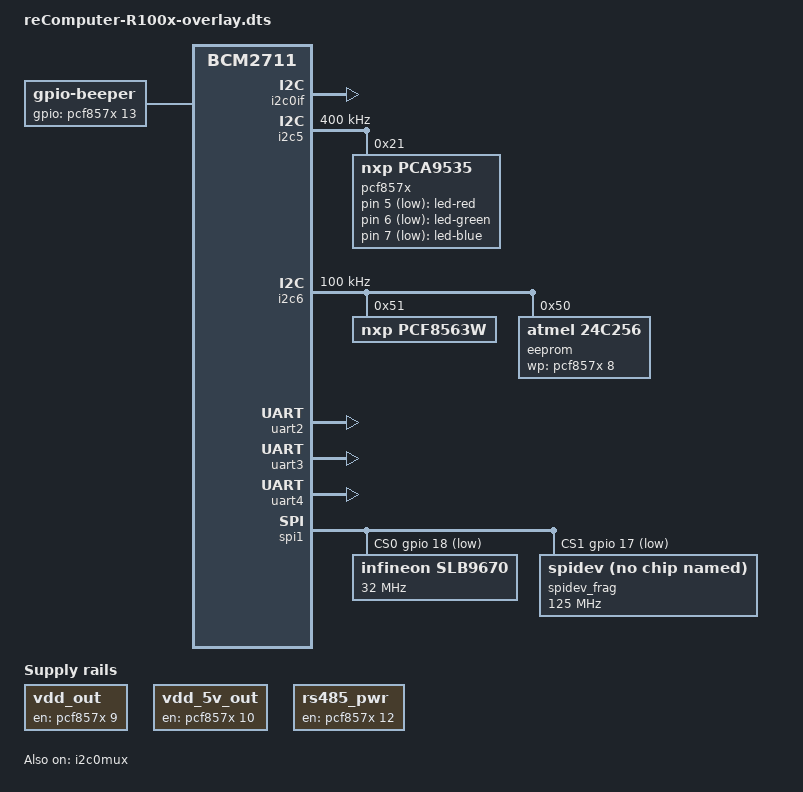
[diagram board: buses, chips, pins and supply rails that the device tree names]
/*
 * Copyright (C) 2021 Seeed Studio
 * ruiqian <ruiqian.tang@seeed.cc>
 *
 * MIT License
 *
 */
 /dts-v1/;
 /plugin/;

 #include "dt-bindings/gpio/gpio.h"

 / {
	compatible = "brcm,bcm2835", "brcm,bcm2708", "brcm,bcm2709", "brcm,bcm2711";

	fragment@0 {
        target-path="/";
        __overlay__ {
            hardware = "reComputer-R100x V1.0&V1.1";
        };
    };

	fragment@1 {
		target = <&i2c0if>;
		__overlay__ {
			status = "okay";
		};
	};

	fragment@2 {
		target = <&i2c0mux>;
		__overlay__ {
			status = "okay";
		};
	};

	i2c_frag:fragment@3 {
		target = <&i2c5>;
		__overlay__ {
			status = "okay";
			clock-frequency = <400000>;
			#address-cells = <1>;
			#size-cells = <0>;

			pcf857x: pcf@21 {
				compatible = "nxp,pca9535";
				reg = <0x21>;
				status = "okay";

				gpio-controller;
				#gpio-cells = <2>;

				gpio-line-names =
					"LoRaWAN_SX1262_CS"	 	,"LoRaWAN_SX1262_RST",
					"LoRaWAN_SX1302_RST"	,"LTE_RESET",
					"TPM_RST"				,"USR_LED_R",
					"USR_LED_G"				,"USR_LED_B",
					"EEPROM_WP"				,"VDD_OUT_CTL",
					"VDD_5V_OUT_CTL"		,"USB2_RST_EN",
					"RS485_POWER_EN"		,"Buzzer_EN",
					"gpio_pin14"			,"gpio_pin15";
					
				LoRaWAN_SX1262_CS {
					gpios = <&pcf857x 0 GPIO_ACTIVE_HIGH>;
					output-low;
					line-name = "LoRaWAN_SX1262_CS";
				};

				LoRaWAN_SX1262_RST {
					gpios = <&pcf857x 1 GPIO_ACTIVE_HIGH>;
					output-low;
					line-name = "LoRaWAN_SX1262_RST";
				};

				LoRaWAN_SX1302_RST {
					gpios = <&pcf857x 2 GPIO_ACTIVE_HIGH>;
					output-low;
					line-name = "LoRaWAN_SX1302_RST";
				};

				LTE_RESET {
					gpios = <&pcf857x 3 GPIO_ACTIVE_HIGH>;
					output-high;
					line-name = "LTE_RESET";
				};

				TPM_RST {
					gpios = <&pcf857x 4 GPIO_ACTIVE_HIGH>;
					output-high;
					line-name = "TPM_RST";
				};

				USR_LED_R {
					gpios = <&pcf857x 5 GPIO_ACTIVE_HIGH>;
					output-high;
					line-name = "USR_LED_R";
				};

				USR_LED_G {
					gpios = <&pcf857x 6 GPIO_ACTIVE_HIGH>;
					output-high;
					line-name = "USR_LED_G";
				};

				USR_LED_B {
					gpios = <&pcf857x 7 GPIO_ACTIVE_HIGH>;
					output-high;
					line-name = "USR_LED_B";
				};

				EEPROM_WP {
					gpios = <&pcf857x 8 GPIO_ACTIVE_HIGH>;
					output-high;
					line-name = "EEPROM_WP";
				};
				
				VDD_OUT_CTL {
					gpios = <&pcf857x 9 GPIO_ACTIVE_HIGH>;
					output-high;
					line-name = "VDD_OUT_CTL";
				};

				VDD_5V_OUT_CTL {
					gpios = <&pcf857x 10 GPIO_ACTIVE_HIGH>;
					output-high;
					line-name = "VDD_5V_OUT_CTL";
				};

				USB2_RST_EN {
					gpios = <&pcf857x 11 GPIO_ACTIVE_HIGH>;
					output-high;
					line-name = "USB2_RST_EN";
				};

				RS485_POWER_EN {
					gpios = <&pcf857x 12 GPIO_ACTIVE_HIGH>;
					output-high;
					line-name = "RS485_POWER_EN";
				};

				Buzzer_EN {
					gpios = <&pcf857x 13 GPIO_ACTIVE_HIGH>;
					output-low;
					line-name = "Buzzer_EN";
				};
			};
		};
	};

	fragment@4 {
		target = <&i2c6>;
		__overlay__ {
			status = "okay";
			clock-frequency = <100000>;
			#address-cells = <1>;
			#size-cells = <0>;
			
			pcf8563w@51 {
				compatible = "nxp,pcf8563w";
				reg = <0x51>;
				reset-source;
				/* 0 = 4096Hz, 1 = 64Hz, 2 = 1Hz, 3 = 1/60Hz */
				timer-frequency = <0x02>;
				/* Timeout count, max 255 min 2*/
				default-timeout =  <120>;
				min-hw-heartbeat-ms = <2000>;
			};

			eeprom@50 {
				compatible = "atmel,24c256";
				reg = <0x50>;
				wp-gpios = <&pcf857x 8 GPIO_ACTIVE_HIGH>;
			};

		};
	};

	fragment@5 {
		target = <&i2c0_pins>;
		__overlay__ {
			brcm,pins = <44 45>;
			brcm,function = <5>; /* alt1 */
		};
	};

	fragment@6 {
		target = <&uart2>;
		__overlay__ {
			label = "RS485_1";
			pinctrl-names = "default";
			pinctrl-0 = <&uart2_pins>;
			linux,rs485-enabled-at-boot-time;
			status = "okay";
		};
	};

	fragment@7 {
		target = <&uart3>;
		__overlay__ {
			label = "RS485_2";
			pinctrl-names = "default";
			pinctrl-0 = <&uart3_pins>;
			linux,rs485-enabled-at-boot-time;
			status = "okay";
		};
	};

	fragment@8 {
		target = <&uart4>;
		__overlay__ {
			label = "RS485_3";
			pinctrl-names = "default";
			pinctrl-0 = <&uart4_pins>;
			linux,rs485-enabled-at-boot-time;
			status = "okay";
		};
	};

	fragment@9 {
		target = <&uart2_pins>;
		__overlay__ {
			brcm,pins = <0 1 2 3>;
			brcm,pull = <0 2 2 0>;
		};
	};

	fragment@10 {
		target = <&uart3_pins>;
		__overlay__ {
			brcm,pins = <4 5 6 7>;
			brcm,pull = <0 2 2 0>;
		};
	};

	fragment@11 {
		target = <&uart4_pins>;
		__overlay__ {
			brcm,pins = <8 9 10 11>;
			brcm,pull = <0 2 2 0>;
		};
	};

	fragment@12 {
		target = <&gpio>;
		__overlay__ {
			spi1_pins: spi1_pins {
				brcm,pins = <19 20 21>;
				brcm,function = <3>; /* alt4 */
			};

			spi1_cs_pins: spi1_cs_pins {
				brcm,pins = <18 17>;
				brcm,function = <1>; /* output */
			};
		};
	};

	spi_frag:fragment@13 {
		target = <&spi1>;
		frag1: __overlay__ {
			/* needed to avoid dtc warning */
			#address-cells = <1>;
			#size-cells = <0>;
			pinctrl-names = "default";
			status = "okay";

			slb9670: slb9670@0 {
				compatible = "infineon,slb9670";
				reg = <0>;	/* CE0 */
				#address-cells = <1>;
				#size-cells = <0>;
				spi-max-frequency = <32000000>;
				status = "okay";
			};

			spidev_frag: spidev@1 {
				compatible = "spidev";
				reg = <1>;      /* CE1 */
				#address-cells = <1>;
				#size-cells = <0>;
				spi-max-frequency = <125000000>;
				status = "okay";
			};
		};
	};

	fragment@14 {
		target = <&spidev0>;
		__overlay__ {
			status = "disabled";
		};
	};

	fragment@15 {
		target = <&spi1>;
		__overlay__ {
			pinctrl-0 = <&spi1_pins &spi1_cs_pins>;
			cs-gpios = <&gpio 18 1>, <&gpio 17 1>;
		};
	};

	fragment@16 {
		target = <&leds>;
		__overlay__ {
			compatible = "gpio-leds";

			led_red: led_red {
				label = "led-red";
				linux,default-trigger = "default-off";
				gpios = <&pcf857x 5 GPIO_ACTIVE_LOW>;
				default-state = "off";
			};
			
			led_green: led_green {
				label = "led-green";
				linux,default-trigger = "default-off";
				gpios = <&pcf857x 6 GPIO_ACTIVE_LOW>;
				default-state = "off";
			};

			led_blue: led_blue {
				label = "led-blue";
				linux,default-trigger = "default-off";
				gpios = <&pcf857x 7 GPIO_ACTIVE_LOW>;
				default-state = "off";
			};
		};
	};

	fragment@17 {
		target-path="/";
		__overlay__ {
			beeper: beeper {
				compatible = "gpio-beeper";
				gpios = <&pcf857x 13 GPIO_ACTIVE_HIGH>;
				status = "okay";
			};
		};
	};

	fragment@18 {
		target-path="/";
		__overlay__ {

			vdd_out:vdd_out {
				compatible = "regulator-fixed";
				regulator-name = "vdd-out";
				gpio = <&pcf857x 9 GPIO_ACTIVE_HIGH>;
				enable-active-high;
				regulator-boot-on;
				regulator-always-on;
			};

			vdd_5v_out:vdd_5v_out {
				compatible = "regulator-fixed";
				regulator-name = "vdd-5v-out";
				gpios = <&pcf857x 10 GPIO_ACTIVE_HIGH>;
				enable-active-high;
				regulator-boot-on;
				regulator-always-on;
			};

			rs485_pwr:rs485_pwr {
				compatible = "regulator-fixed";
				regulator-name = "rs485-pwr";
				gpio = <&pcf857x 12 GPIO_ACTIVE_HIGH>;
				enable-active-high;
				regulator-boot-on;
				regulator-always-on;
			};
		};
	};

	fragment@20 {
		target = <&i2c0_pins>;
		__dormant__ {
			brcm,pins = <0 1>;
			brcm,function = <4>; /* alt0 */
		};
	};

	fragment@21 {
		target = <&i2c1>;
		__dormant__ {
			clock-frequency = <100000>;
			#address-cells = <1>;
			#size-cells = <0>;
			status = "okay";
		};
	};

	fragment@22 {
		target = <&i2c1_pins>;
		pins2: __dormant__ {
			brcm,pins = <44 45>;
			brcm,function = <6>; /* alt 2 */
		};
	};

	fragment@23 {
		target = <&i2c3_pins>;
		__dormant__ {
			brcm,pins = <2 3>;
		};
	};

	fragment@24 {
		target = <&uart2>;
		__dormant__ {
			rts-gpio = <&gpio 6 GPIO_ACTIVE_HIGH>;
		};
	};

	fragment@25 {
		target = <&uart3>;
		__dormant__ {
			rts-gpio = <&gpio 17 GPIO_ACTIVE_HIGH>;
		};
	};

	fragment@26 {
		target = <&uart5>;
		__dormant__ {
			label = "RS485_3";
			linux,rs485-enabled-at-boot-time;
			rts-gpio = <&gpio 24 GPIO_ACTIVE_HIGH>;
			status = "okay";
		};
	};

	fragment@27 {
		target = <&led_red>;
		__dormant__ {
			gpios = <&gpio 20 GPIO_ACTIVE_LOW>;
		};
	};

	fragment@28 {
		target = <&led_green>;
		__dormant__ {
			gpios = <&gpio 26 GPIO_ACTIVE_LOW>;
		};
	};

	fragment@29 {
		target = <&led_blue>;
		__dormant__ {
			gpios = <&gpio 27 GPIO_ACTIVE_LOW>;
		};
	};

	fragment@30 {
		target = <&beeper>;
		__dormant__ {
			gpios = <&gpio 21 GPIO_ACTIVE_HIGH>;
		};
	};

	fragment@31 {
		target = <&pcf857x>;
		__dormant__ {
			gpio-line-names =
				"LoRaWAN_SX1262_CS"	 	,"LoRaWAN_SX1262_RST",
				"LoRaWAN_SX1302_RST"	,"LTE_RESET",
				"TPM_RST"				,"gpio_pin5",
				"gpio_pin6"				,"gpio_pin7",
				"EEPROM_WP"				,"VDD_OUT_CTL",
				"VDD_5V_OUT_CTL"		,"USB2_RST_EN",
				"RS485_POWER_EN"		,"gpio_pin13",
				"gpio_pin14"			,"gpio_pin15";
		};
	};

	/* If the hardware version is v1.1, no parameters need to be passed, if it is v1.0, the hardware will be passed uart2 or i2c0 according to the need  */
	__overrides__ {
		uart2 = <0>,"!1!2!5!8!9!10!11!12!15",
			    <0>,"=21=22=23=24=25=26=27=28=29=30=31",
		        <&i2c_frag>, "target:0=",<&i2c3>,
		        <&spi_frag>, "target:0=",<&spi0>;
		i2c0 = <0>,"!5!6!8!9!10!11!12!15",
			   <0>,"=20=21=22=23=25=26=27=28=29=30=31",
		       <&i2c_frag>, "target:0=",<&i2c3>,
		       <&spi_frag>, "target:0=",<&spi0>;
	};
};	
